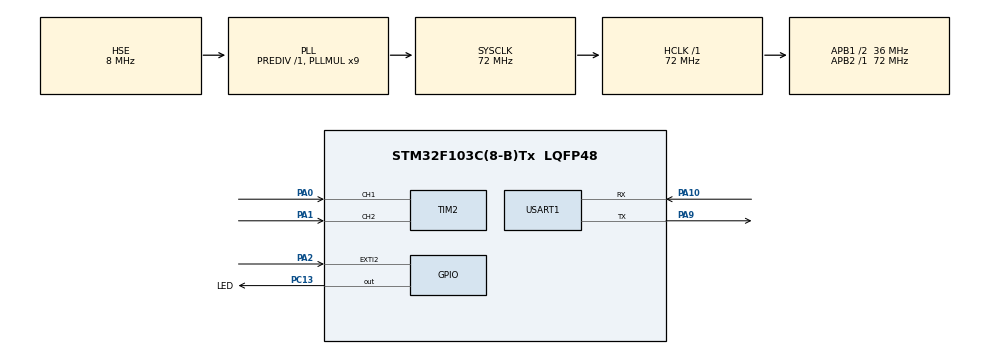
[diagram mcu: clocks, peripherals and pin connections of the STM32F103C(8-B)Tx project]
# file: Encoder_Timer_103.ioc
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Mcu.Family=STM32F1
Mcu.Name=STM32F103C(8-B)Tx
Mcu.Package=LQFP48
NVIC.EXTI2_IRQn=true\:0\:0\:false\:false\:true\:true\:true\:true
NVIC.PriorityGroup=NVIC_PRIORITYGROUP_4
NVIC.TIM2_IRQn=true\:0\:0\:false\:false\:true\:true\:true\:true
NVIC.TIM4_IRQn=true\:15\:0\:false\:false\:true\:false\:true\:true
NVIC.TimeBase=TIM4_IRQn
NVIC.TimeBaseIP=TIM4
PA0-WKUP.Signal=S_TIM2_CH1_ETR
PA1.Signal=S_TIM2_CH2
PA10.Mode=Asynchronous
PA10.Signal=USART1_RX
PA13.Mode=Serial_Wire
PA13.Signal=SYS_JTMS-SWDIO
PA14.Mode=Serial_Wire
PA14.Signal=SYS_JTCK-SWCLK
PA2.GPIO_ModeDefaultEXTI=GPIO_MODE_IT_RISING_FALLING
PA2.Signal=GPXTI2
PA9.Mode=Asynchronous
PA9.Signal=USART1_TX
PC13-TAMPER-RTC.GPIO_Label=LED
PC13-TAMPER-RTC.PinState=GPIO_PIN_SET
PC13-TAMPER-RTC.Signal=GPIO_Output
PD0-OSC_IN.Mode=HSE-External-Oscillator
PD0-OSC_IN.Signal=RCC_OSC_IN
PD1-OSC_OUT.Mode=HSE-External-Oscillator
PD1-OSC_OUT.Signal=RCC_OSC_OUT
ProjectManager.HeapSize=0x200
ProjectManager.StackSize=0x400
ProjectManager.TargetToolchain=STM32CubeIDE
RCC.AHBFreq_Value=72000000
RCC.APB1CLKDivider=RCC_HCLK_DIV2
RCC.APB1Freq_Value=36000000
RCC.APB1TimFreq_Value=72000000
RCC.APB2Freq_Value=72000000
RCC.APB2TimFreq_Value=72000000
RCC.HCLKFreq_Value=72000000
RCC.PLLMUL=RCC_PLL_MUL9
RCC.PLLSourceVirtual=RCC_PLLSOURCE_HSE
RCC.SYSCLKFreq_VALUE=72000000
RCC.SYSCLKSource=RCC_SYSCLKSOURCE_PLLCLK
RCC.USBFreq_Value=72000000
SH.S_TIM2_CH1_ETR.0=TIM2_CH1,Encoder_Interface
SH.S_TIM2_CH2.0=TIM2_CH2,Encoder_Interface
TIM2.EncoderMode=TIM_ENCODERMODE_TI12
TIM2.IC1Polarity=TIM_ICPOLARITY_FALLING
TIM2.IC2Polarity=TIM_ICPOLARITY_FALLING
USART1.VirtualMode=VM_ASYNC
VP_SYS_VS_tim4.Mode=TIM4
board=custom

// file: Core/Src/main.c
/* USER CODE BEGIN Header */
/**
  ******************************************************************************
  * @file           : main.c
  * @brief          : Main program body
  ******************************************************************************
  * @attention
  *
  * Copyright (c) 2023 STMicroelectronics.
  * All rights reserved.
  *
  * This software is licensed under terms that can be found in the LICENSE file
  * in the root directory of this software component.
  * If no LICENSE file comes with this software, it is provided AS-IS.
  *
  ******************************************************************************
  */
/* USER CODE END Header */
#include "main.h"

/* USER CODE BEGIN Includes */
#include <stdio.h>/* для printf */
/* USER CODE END Includes */

TIM_HandleTypeDef htim2;

UART_HandleTypeDef huart1;

void SystemClock_Config(void);
static void MX_GPIO_Init(void);
static void MX_TIM2_Init(void);
static void MX_USART1_UART_Init(void);
/* USER CODE BEGIN PFP */
int _write(int file, char *ptr, int len) {
	int i;
	HAL_UART_Transmit(&huart1, (uint8_t*) ptr, len, 50);
	for (i = 0; i < len; i++) {
		ITM_SendChar(*ptr++);
	}
	return len;
}
/* USER CODE END PFP */

/* USER CODE BEGIN 0 */
uint32_t counter = 0;
int16_t count = 0;
int16_t position = 0;
int speed =0;

void HAL_TIM_IC_CaptureCallback(TIM_HandleTypeDef *htim)
{
	counter = __HAL_TIM_GET_COUNTER(htim);
	count = (int16_t)counter;
	position = count/4;
}

/* USER CODE END 0 */

int main(void)
{

  /* MCU Configuration--------------------------------------------------------*/

  /* Reset of all peripherals, Initializes the Flash interface and the Systick. */
  HAL_Init();

  /* Configure the system clock */
  SystemClock_Config();

  /* Initialize all configured peripherals */
  MX_GPIO_Init();
  MX_TIM2_Init();
  MX_USART1_UART_Init();
  /* USER CODE BEGIN 2 */
  HAL_TIM_Encoder_Start_IT(&htim2, TIM_CHANNEL_ALL);
  /* USER CODE END 2 */

  /* Infinite loop */
  while (1)
  {

  }
}

void SystemClock_Config(void)
{
  RCC_OscInitTypeDef RCC_OscInitStruct = {0};
  RCC_ClkInitTypeDef RCC_ClkInitStruct = {0};

  /** Initializes the RCC Oscillators according to the specified parameters
  * in the RCC_OscInitTypeDef structure.
  */
  RCC_OscInitStruct.OscillatorType = RCC_OSCILLATORTYPE_HSE;
  RCC_OscInitStruct.HSEState = RCC_HSE_ON;
  RCC_OscInitStruct.HSEPredivValue = RCC_HSE_PREDIV_DIV1;
  RCC_OscInitStruct.HSIState = RCC_HSI_ON;
  RCC_OscInitStruct.PLL.PLLState = RCC_PLL_ON;
  RCC_OscInitStruct.PLL.PLLSource = RCC_PLLSOURCE_HSE;
  RCC_OscInitStruct.PLL.PLLMUL = RCC_PLL_MUL9;
  if (HAL_RCC_OscConfig(&RCC_OscInitStruct) != HAL_OK)
  {
    Error_Handler();
  }

  /** Initializes the CPU, AHB and APB buses clocks
  */
  RCC_ClkInitStruct.ClockType = RCC_CLOCKTYPE_HCLK|RCC_CLOCKTYPE_SYSCLK
                              |RCC_CLOCKTYPE_PCLK1|RCC_CLOCKTYPE_PCLK2;
  RCC_ClkInitStruct.SYSCLKSource = RCC_SYSCLKSOURCE_PLLCLK;
  RCC_ClkInitStruct.AHBCLKDivider = RCC_SYSCLK_DIV1;
  RCC_ClkInitStruct.APB1CLKDivider = RCC_HCLK_DIV2;
  RCC_ClkInitStruct.APB2CLKDivider = RCC_HCLK_DIV1;

  if (HAL_RCC_ClockConfig(&RCC_ClkInitStruct, FLASH_LATENCY_2) != HAL_OK)
  {
    Error_Handler();
  }
}

static void MX_TIM2_Init(void)
{

  TIM_Encoder_InitTypeDef sConfig = {0};
  TIM_MasterConfigTypeDef sMasterConfig = {0};

  htim2.Instance = TIM2;
  htim2.Init.Prescaler = 0;
  htim2.Init.CounterMode = TIM_COUNTERMODE_UP;
  htim2.Init.Period = 65535;
  htim2.Init.ClockDivision = TIM_CLOCKDIVISION_DIV1;
  htim2.Init.AutoReloadPreload = TIM_AUTORELOAD_PRELOAD_DISABLE;
  sConfig.EncoderMode = TIM_ENCODERMODE_TI12;
  sConfig.IC1Polarity = TIM_ICPOLARITY_FALLING;
  sConfig.IC1Selection = TIM_ICSELECTION_DIRECTTI;
  sConfig.IC1Prescaler = TIM_ICPSC_DIV1;
  sConfig.IC1Filter = 0;
  sConfig.IC2Polarity = TIM_ICPOLARITY_FALLING;
  sConfig.IC2Selection = TIM_ICSELECTION_DIRECTTI;
  sConfig.IC2Prescaler = TIM_ICPSC_DIV1;
  sConfig.IC2Filter = 0;
  if (HAL_TIM_Encoder_Init(&htim2, &sConfig) != HAL_OK)
  {
    Error_Handler();
  }
  sMasterConfig.MasterOutputTrigger = TIM_TRGO_RESET;
  sMasterConfig.MasterSlaveMode = TIM_MASTERSLAVEMODE_DISABLE;
  if (HAL_TIMEx_MasterConfigSynchronization(&htim2, &sMasterConfig) != HAL_OK)
  {
    Error_Handler();
  }

}

static void MX_USART1_UART_Init(void)
{

  huart1.Instance = USART1;
  huart1.Init.BaudRate = 115200;
  huart1.Init.WordLength = UART_WORDLENGTH_8B;
  huart1.Init.StopBits = UART_STOPBITS_1;
  huart1.Init.Parity = UART_PARITY_NONE;
  huart1.Init.Mode = UART_MODE_TX_RX;
  huart1.Init.HwFlowCtl = UART_HWCONTROL_NONE;
  huart1.Init.OverSampling = UART_OVERSAMPLING_16;
  if (HAL_UART_Init(&huart1) != HAL_OK)
  {
    Error_Handler();
  }

}

static void MX_GPIO_Init(void)
{
  GPIO_InitTypeDef GPIO_InitStruct = {0};

  /* GPIO Ports Clock Enable */
  __HAL_RCC_GPIOC_CLK_ENABLE();
  __HAL_RCC_GPIOD_CLK_ENABLE();
  __HAL_RCC_GPIOA_CLK_ENABLE();

  /*Configure GPIO pin Output Level */
  HAL_GPIO_WritePin(LED_GPIO_Port, LED_Pin, GPIO_PIN_SET);

  /*Configure GPIO pin : LED_Pin */
  GPIO_InitStruct.Pin = LED_Pin;
  GPIO_InitStruct.Mode = GPIO_MODE_OUTPUT_PP;
  GPIO_InitStruct.Pull = GPIO_NOPULL;
  GPIO_InitStruct.Speed = GPIO_SPEED_FREQ_LOW;
  HAL_GPIO_Init(LED_GPIO_Port, &GPIO_InitStruct);

  /*Configure GPIO pin : PA2 */
  GPIO_InitStruct.Pin = GPIO_PIN_2;
  GPIO_InitStruct.Mode = GPIO_MODE_IT_RISING_FALLING;
  GPIO_InitStruct.Pull = GPIO_NOPULL;
  HAL_GPIO_Init(GPIOA, &GPIO_InitStruct);

  /* EXTI interrupt init*/
  HAL_NVIC_SetPriority(EXTI2_IRQn, 0, 0);
  HAL_NVIC_EnableIRQ(EXTI2_IRQn);

}

void HAL_TIM_PeriodElapsedCallback(TIM_HandleTypeDef *htim)
{
  if (htim->Instance == TIM4) {
    HAL_IncTick();
  }
}

void Error_Handler(void)
{
  __disable_irq();
  while (1)
  {
  }
}
